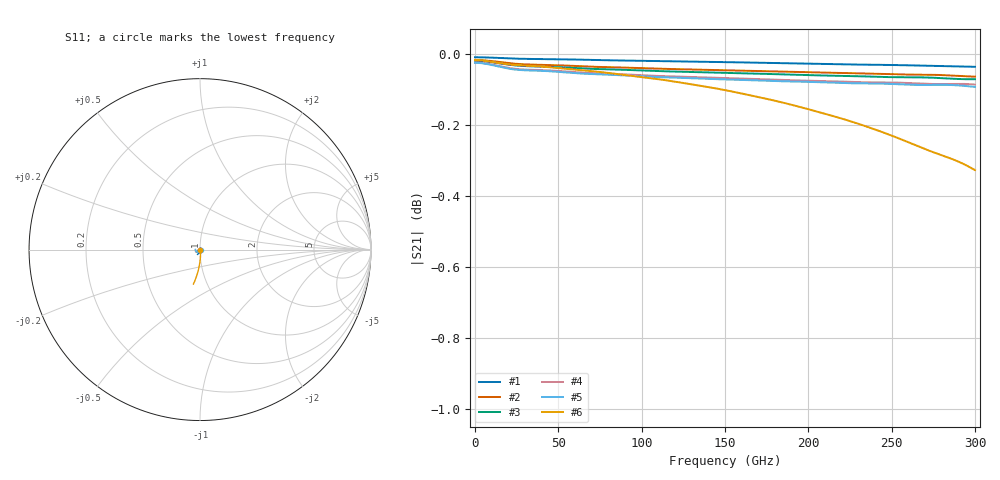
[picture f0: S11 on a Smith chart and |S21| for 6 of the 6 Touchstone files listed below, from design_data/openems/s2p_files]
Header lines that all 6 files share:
#  Hz  S  RI  R  50
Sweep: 100 MHz to 300 GHz
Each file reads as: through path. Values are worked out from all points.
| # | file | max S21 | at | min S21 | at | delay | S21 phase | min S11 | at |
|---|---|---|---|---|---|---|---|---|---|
| 1 | 15.s2p | -0.01 dB | 200 MHz | 0.0 dB | 300 GHz | 245 fs | -13 deg at 150.1 GHz | -59.1 dB | 100 MHz |
| 2 | 24.s2p | -0.02 dB | 100 MHz | -0.1 dB | 300 GHz | 487 fs | -26 deg at 150.1 GHz | -53.6 dB | 100 MHz |
| 3 | 28.5.s2p | -0.02 dB | 100 MHz | -0.1 dB | 296.7 GHz | 566 fs | -31 deg at 150.1 GHz | -52.4 dB | 100 MHz |
| 4 | 42.s2p | -0.02 dB | 100 MHz | -0.1 dB | 300 GHz | 722 fs | -39 deg at 150.1 GHz | -50.7 dB | 100 MHz |
| 5 | 45.s2p | -0.03 dB | 100 MHz | -0.1 dB | 300 GHz | 759 fs | -41 deg at 150.1 GHz | -50.1 dB | 100 MHz |
| 6 | out.s2p | -0.02 dB | 100 MHz | -0.3 dB | 300 GHz | 590 fs | -32 deg at 150.1 GHz | -53.3 dB | 100 MHz |
